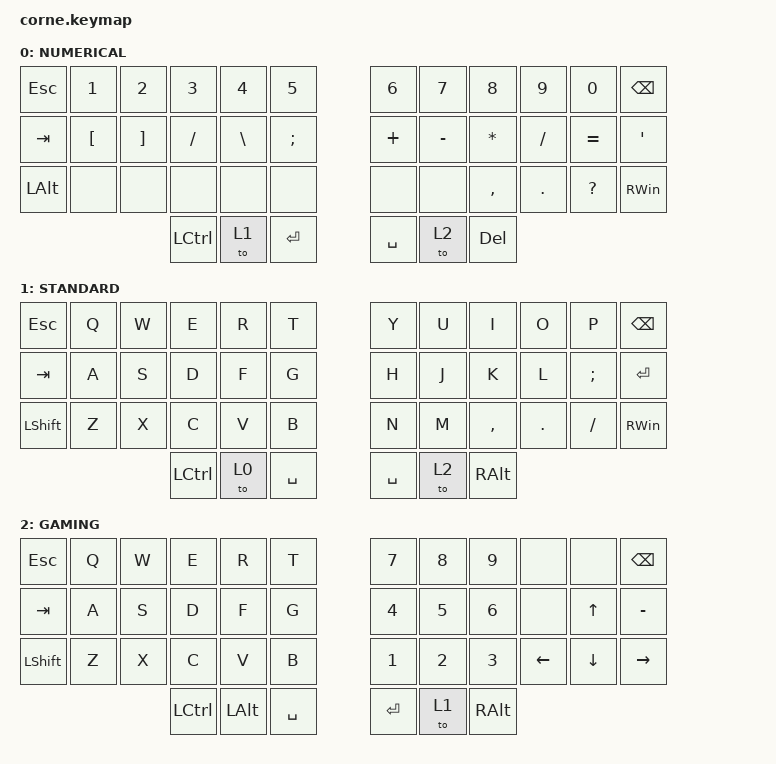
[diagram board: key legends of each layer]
/*
 * Copyright (c) 2020 The ZMK Contributors
 *
 * SPDX-License-Identifier: MIT
 */

#include <behaviors.dtsi>
#include <dt-bindings/zmk/keys.h>
#include <dt-bindings/zmk/bt.h>

#define NUMERICAL 0
#define STANDARD 1
#define GAMING 2

/ {
        keymap {
                compatible = "zmk,keymap";

                NUMERICAL {
// -----------------------------------------------------------------------------------------
// | ESC |   |    |    |    |    |   |    |     |    |    |    |  |
// | |  A  |  S  |  D  |  F  |  G  |   |  H  |  J   |  K  |  L  |  ;  |  ENT   |
// | SHFT |  Z  |  X  |  C  |  V  |  B  |   |  N  |  M   |  ,  |  .  |  /  | SHFT  |
//                    | CTRL | LWR | SPC |   | SPC | RSE  | ALT |
                        bindings = <
   &kp ESC   &kp NUMBER_1 &kp NUMBER_2 &kp NUMBER_3 &kp NUMBER_4 &kp NUMBER_5   &kp NUMBER_6 &kp NUMBER_7 &kp NUMBER_8 &kp NUMBER_9 &kp NUMBER_0 &kp BSPC
   &kp TAB   &kp LBKT     &kp RBKT     &kp FSLH     &kp BSLH     &kp SEMI       &kp PLUS     &kp MINUS    &kp ASTERISK &kp SLASH    &kp EQUAL    &kp SQT
   &kp LALT  &none        &none        &none        &none        &none          &none        &none        &kp COMMA    &kp PERIOD   &kp QMARK    &kp RWIN
                                       &kp LCTRL    &to 1        &kp RET        &kp SPACE    &to 2        &kp DEL
                        >;
                    };
                
                STANDARD {
// -----------------------------------------------------------------------------------------
// | ESC |  Q  |  W  |  E  |  R  |  T  |   |  Y  |  U   |  I  |  O  |  P  | BKSP |
// | TAB |  A  |  S  |  D  |  F  |  G  |   |  H  |  J   |  K  |  L  |  ;  |  ENT   |
// | SHFT |  Z  |  X  |  C  |  V  |  B  |   |  N  |  M   |  ,  |  .  |  /  | SHFT  |
//                    | CTRL | LWR | SPC |   | SPC | RSE  | ALT |
                        bindings = <
   &kp ESC   &kp Q &kp W &kp E &kp R &kp T   &kp Y &kp U  &kp I     &kp O   &kp P    &kp BSPC
   &kp TAB   &kp A &kp S &kp D &kp F &kp G   &kp H &kp J  &kp K     &kp L   &kp SEMI &kp RET
   &kp LSHFT &kp Z &kp X &kp C &kp V &kp B   &kp N &kp M  &kp COMMA &kp DOT &kp FSLH &kp RWIN
                  &kp LCTRL &to 0 &kp SPACE   &kp SPACE &to 2 &kp RALT
                        >;
                };
                GAMING {
// -----------------------------------------------------------------------------------------
// |  ESC   |  Q   |  W   |  E  |   R  |   T  |      |      |         |      |       |      | BKSP |
// |  TAB   |  A   |  S   |  D  |   F  |   G  |      |      |         |      |  UP   |      |      |
// | SHFT   |  Z   |  X   |  C  |   V  |   B  |      |      |         | LFT  |  DWN  | RGT  |      |
//                    | CTRL |  ALT  | SPC |            | ENT  |  RSE    | ALT |
                        bindings = <
   &kp ESC   &kp Q  &kp W  &kp E  &kp R  &kp T        &kp NUMBER_7 &kp NUMBER_8 &kp NUMBER_9  &none     &none    &kp BSPC
   &kp TAB   &kp A  &kp S  &kp D  &kp F  &kp G        &kp NUMBER_4 &kp NUMBER_5 &kp NUMBER_6  &none     &kp UP   &kp MINUS
   &kp LSHFT &kp Z  &kp X  &kp C  &kp V  &kp B        &kp NUMBER_1 &kp NUMBER_2 &kp NUMBER_3  &kp LEFT  &kp DOWN &kp RIGHT
                    &kp LCTRL &kp LALT   &kp SPACE     &kp RET  &to 1   &kp RALT
                        >;
                };

        };
};
